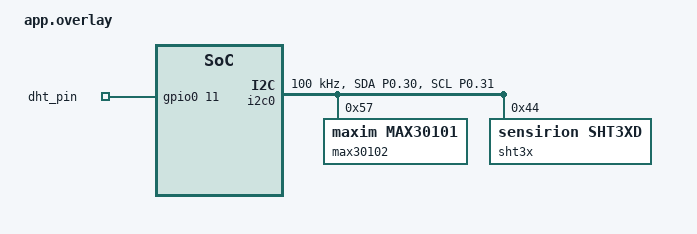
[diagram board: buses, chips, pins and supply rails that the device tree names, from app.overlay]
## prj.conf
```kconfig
#
# Copyright (c) 2018 Nordic Semiconductor
#
# SPDX-License-Identifier: LicenseRef-Nordic-5-Clause
#

# Enable the UART driver
CONFIG_UART_ASYNC_API=y
CONFIG_NRFX_UARTE=y
CONFIG_SERIAL=y

CONFIG_GPIO=y
CONFIG_I2C=y

# Make sure printk is printing to the UART console
CONFIG_CONSOLE=y
CONFIG_UART_CONSOLE=y

CONFIG_HEAP_MEM_POOL_SIZE=2048

CONFIG_BT=y
CONFIG_BT_PERIPHERAL=y
CONFIG_BT_DEVICE_NAME="Nordic_UART_Service"
CONFIG_BT_MAX_CONN=1
CONFIG_BT_MAX_PAIRED=1

# Enable the NUS service
CONFIG_BT_NUS=y

# Enable bonding
CONFIG_BT_SETTINGS=y
CONFIG_FLASH=y
CONFIG_FLASH_PAGE_LAYOUT=y
CONFIG_FLASH_MAP=y

# Enable DK LED and Buttons library
CONFIG_DK_LIBRARY=y

CONFIG_SYSTEM_WORKQUEUE_STACK_SIZE=2048
# Config logger
CONFIG_LOG=y
CONFIG_USE_SEGGER_RTT=y
CONFIG_LOG_BACKEND_RTT=y
CONFIG_LOG_BACKEND_UART=n
CONFIG_LOG_PRINTK=n

CONFIG_ASSERT=y
CONFIG_CBPRINTF_FP_SUPPORT=y
CONFIG_BT=y
CONFIG_DK_LIBRARY=y

CONFIG_SENSOR=y
CONFIG_DHT=y
CONFIG_CBPRINTF_FP_SUPPORT=y
CONFIG_MAX30101=y

# 开启 SHT3XD 专属驱动
CONFIG_SHT3XD=y

# 允许使用浮点数打印 (很重要，否则打不出小数)
CONFIG_CBPRINTF_FP_SUPPORT=y
```

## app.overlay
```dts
/ {
    dht_io: dht_io {
        compatible = "gpio-keys";
        dht_pin: dht_pin {
            gpios = <&gpio0 11 (GPIO_ACTIVE_HIGH | GPIO_PULL_UP)>;
        };
    };
};

&pinctrl {
    i2c0_default: i2c0_default {
        group1 {
            psels = <NRF_PSEL(TWIM_SDA, 0, 26)>,
                    <NRF_PSEL(TWIM_SCL, 0, 27)>;
            bias-pull-up; /* 强制开启单片机内部上拉电阻 */
        };
    };
    i2c0_sleep: i2c0_sleep {
        group1 {
            psels = <NRF_PSEL(TWIM_SDA, 0, 26)>,
                    <NRF_PSEL(TWIM_SCL, 0, 27)>;
            low-power-enable;
            bias-pull-up; /* 强制开启单片机内部上拉电阻 */
        };
    };
};

&i2c0 {
    status = "okay";
    pinctrl-0 = <&i2c0_default>;
    pinctrl-1 = <&i2c0_sleep>;
    pinctrl-names = "default", "sleep";
    
    max30102: max30102@57 {
        compatible = "maxim,max30101";
        reg = <0x57>;
    };
};

&pinctrl {
    i2c0_default: i2c0_default {
        group1 {
            psels = <NRF_PSEL(TWIM_SDA, 0, 30)>,
                    <NRF_PSEL(TWIM_SCL, 0, 31)>;
            bias-pull-up;
        };
    };
    i2c0_sleep: i2c0_sleep {
        group1 {
            psels = <NRF_PSEL(TWIM_SDA, 0, 30)>,
                    <NRF_PSEL(TWIM_SCL, 0, 31)>;
            low-power-enable;
            bias-pull-up;
        };
    };
};

&i2c0 {
    status = "okay";
    pinctrl-0 = <&i2c0_default>;
    pinctrl-1 = <&i2c0_sleep>;
    pinctrl-names = "default", "sleep";
    clock-frequency = <I2C_BITRATE_STANDARD>; 

    /* 👇 新增的 SHT3X 节点 👇 */
    sht3x: sht3xd@44 {
        compatible = "sensirion,sht3xd";
        reg = <0x44>; /* SHT3X 的默认 I2C 地址通常是 0x44 */
    };
};
```

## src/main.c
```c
#include <stdio.h>
#include <string.h>
#include <math.h>
#include <zephyr/kernel.h>
#include <zephyr/drivers/gpio.h>
#include <zephyr/drivers/sensor.h>
#include <zephyr/bluetooth/bluetooth.h>
#include <zephyr/bluetooth/uuid.h>
#include <zephyr/bluetooth/gatt.h>
#include <bluetooth/services/nus.h>
#include <dk_buttons_and_leds.h>
#include <zephyr/sys/printk.h>

#define DEVICE_NAME CONFIG_BT_DEVICE_NAME
#define DEVICE_NAME_LEN (sizeof(DEVICE_NAME) - 1)

#define CTRL_LED       DK_LED1
#define CON_STATUS_LED DK_LED2
#define BLE_INIT_LED   DK_LED3
#define ERR_STATUS_LED DK_LED4

static const struct gpio_dt_spec dht_gpio = GPIO_DT_SPEC_GET(DT_NODELABEL(dht_pin), gpios);
const struct device *max30102_dev = DEVICE_DT_GET_ANY(maxim_max30101);
static struct bt_conn *current_conn;

// 传感器数据缓存
static uint8_t raw_dht[5];
static float real_temp = 0, real_hum = 0;
static float sim_acc_x, sim_acc_y, sim_acc_z;

// 蓝牙广播定义
static const struct bt_data ad[] = {
    BT_DATA_BYTES(BT_DATA_FLAGS, (BT_LE_AD_GENERAL | BT_LE_AD_NO_BREDR)),
    BT_DATA(BT_DATA_NAME_COMPLETE, DEVICE_NAME, DEVICE_NAME_LEN),
};
static const struct bt_data sd[] = { BT_DATA_BYTES(BT_DATA_UUID128_ALL, BT_UUID_NUS_VAL) };

static void start_advertising(void) {
    bt_le_adv_start(BT_LE_ADV_CONN_FAST_2, ad, ARRAY_SIZE(ad), sd, ARRAY_SIZE(sd));
}

static void connected(struct bt_conn *conn, uint8_t err) {
    if (!err) { current_conn = bt_conn_ref(conn); dk_set_led_on(CON_STATUS_LED); }
}
static void disconnected(struct bt_conn *conn, uint8_t reason) {
    if (current_conn) { bt_conn_unref(current_conn); current_conn = NULL; dk_set_led_off(CON_STATUS_LED); }
    start_advertising();
}
BT_CONN_CB_DEFINE(conn_callbacks) = { .connected = connected, .disconnected = disconnected };

// 接收控制指令 (开/关 LED)
static void bt_receive_cb(struct bt_conn *conn, const uint8_t *const data, uint16_t len) {
    if (strncmp(data, "LED_ON", 6) == 0) dk_set_led_on(CTRL_LED);
    else if (strncmp(data, "LED_OFF", 7) == 0) dk_set_led_off(CTRL_LED);
}
static struct bt_nus_cb nus_cb = { .received = bt_receive_cb };

// DHT11 驱动逻辑
static int wait_state(int state, int timeout_us) {
    int us = 0;
    while (gpio_pin_get_dt(&dht_gpio) != state) { if (++us > timeout_us) return -1; k_busy_wait(1); }
    return us;
}
static int read_byte(uint8_t *out) {
    uint8_t val = 0;
    for (int i = 0; i < 8; i++) {
        if (wait_state(1, 100) < 0) return -1;
        k_busy_wait(30);
        if (gpio_pin_get_dt(&dht_gpio) == 1) { val |= (1 << (7 - i)); if (wait_state(0, 100) < 0) return -1; }
    }
    *out = val; return 0;
}
int do_dht_read(void) {
    gpio_pin_configure_dt(&dht_gpio, GPIO_OUTPUT_ACTIVE);
    gpio_pin_set_dt(&dht_gpio, 0); k_msleep(20);
    gpio_pin_set_dt(&dht_gpio, 1); k_busy_wait(30);
    gpio_pin_configure_dt(&dht_gpio, GPIO_INPUT);
    if (wait_state(0, 100) < 0 || wait_state(1, 100) < 0 || wait_state(0, 100) < 0) return -1;
    for (int i = 0; i < 5; i++) if (read_byte(&raw_dht[i]) < 0) return -1;
    if (raw_dht[4] != ((raw_dht[0] + raw_dht[1] + raw_dht[2] + raw_dht[3]) & 0xFF)) return -1;
    return 0;
}

// 模拟行走数据
void simulate_lis3dh_walking(void) {
    static float time = 0;
    sim_acc_z = 2.0f + 0.5f * sinf(time) + (float)(k_cycle_get_32() % 100 - 50) / 500.0f;
    sim_acc_x = 0.1f + 0.1f * sinf(time * 0.5f);
    sim_acc_y = -0.1f + 0.1f * sinf(time * 1.3f);
    time += 0.2f;
}

int main(void) {
    dk_leds_init();
    gpio_is_ready_dt(&dht_gpio);
    
    if (max30102_dev && device_is_ready(max30102_dev)) printk("[OK] MAX30102 I2C Ready.\n");
    else printk("[ERR] MAX30102 Not Found.\n");

    bt_enable(NULL);
    bt_nus_init(&nus_cb);
    start_advertising();
    dk_set_led_on(BLE_INIT_LED);

    for (;;) {
        // 1. 读温湿度
        if (do_dht_read() == 0) {
            real_temp = (float)raw_dht[2]; real_hum = (float)raw_dht[0];
        } else {
            dk_set_led_on(ERR_STATUS_LED); k_msleep(100); dk_set_led_off(ERR_STATUS_LED);
        }

        // 2. 读光强 (红光/红外)
        uint32_t raw_red = 0, raw_ir = 0;
        if (max30102_dev) {
            struct sensor_value red_val, ir_val;
            sensor_sample_fetch(max30102_dev);
            sensor_channel_get(max30102_dev, SENSOR_CHAN_RED, &red_val);
            sensor_channel_get(max30102_dev, SENSOR_CHAN_IR, &ir_val);
            raw_red = red_val.val1; raw_ir = ir_val.val1;
        }

        // 3. 模拟加速度
        simulate_lis3dh_walking();

        // 4. 打包发送
        if (current_conn) {
            char buf[128];
            snprintf(buf, sizeof(buf), "T:%.1f,H:%.1f,X:%.2f,Y:%.2f,Z:%.2f,RED:%u,IR:%u\n", 
                     (double)real_temp, (double)real_hum, (double)sim_acc_x, (double)sim_acc_y, (double)sim_acc_z, raw_red, raw_ir);
            bt_nus_send(NULL, (uint8_t *)buf, strlen(buf));
            printk("[TX] %s", buf);
        }
        k_sleep(K_MSEC(2000));
    }
}
```
